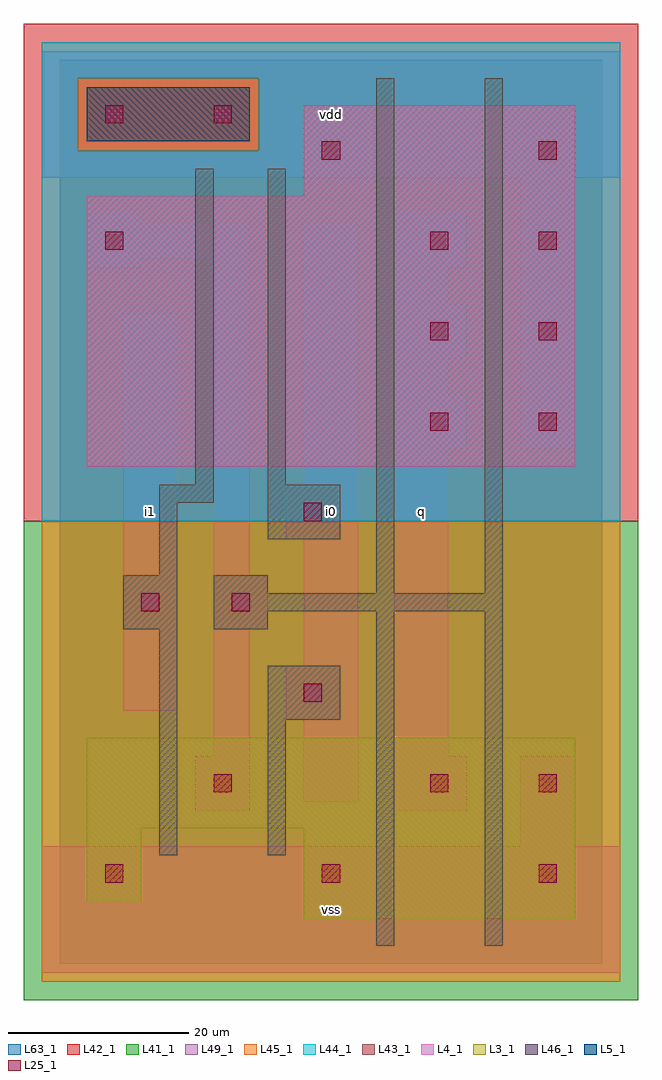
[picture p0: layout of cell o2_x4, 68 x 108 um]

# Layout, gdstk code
import gdstk
lib = gdstk.Library(unit=1e-6, precision=1e-09)
def R(c, l, rs):  # rectangles x0, y0, x1, y1
    for r in rs: c.add(gdstk.rectangle(r[:2], r[2:], *l))
def A(c, l, x, y, w, h, nx, ny, dx, dy):  # array of equal rectangles
    R(c, l, [(x+i*dx, y+j*dy, x+i*dx+w, y+j*dy+h) for i in range(nx) for j in range(ny)])
L3_1 = (3, 1)
L4_1 = (4, 1)
L5_1 = (5, 1)
L25_1 = (25, 1)
L41_1 = (41, 1)
L42_1 = (42, 1)
L43_1 = (43, 1)
L44_1 = (44, 1)
L45_1 = (45, 1)
L46_1 = (46, 1)
L49_1 = (49, 1)
L63_1 = (63, 1)

o2_x4 = lib.new_cell('o2_x4')
R(o2_x4, L3_1, [(27,5,57,15), (3,7,9,15), (3,15,57,25)])
R(o2_x4, L4_1, [(3,55,57,85), (27,85,57,95)])
R(o2_x4, L5_1, [(3,91,21,97)])
A(o2_x4, L25_1, 5, 9, 2, 2, 3, 1, 24, 0)
A(o2_x4, L25_1, 41, 59, 2, 2, 1, 3, 0, 10)
A(o2_x4, L25_1, 53, 59, 2, 2, 1, 4, 0, 10)
R(o2_x4, L25_1, [(17,19,19,21), (41,19,43,21), (53,19,55,21), (27,29,29,31), (9,39,11,41), (19,39,21,41), (27,49,29,51), (5,79,7,81), (29,89,31,91), (5,93,7,95), (17,93,19,95)])
R(o2_x4, L41_1, [(-4,-4,64,49)])
R(o2_x4, L42_1, [(-4,49,64,104)])
R(o2_x4, L43_1, [(27,5,57,15), (3,7,9,15), (3,15,57,25), (3,55,57,85), (27,85,57,95), (3,91,21,97)])
R(o2_x4, L44_1, [(-2,49,62,90), (-2,90,2,98), (22,90,62,98), (-2,98,62,102)])
R(o2_x4, L45_1, [(-2,-2,62,49), (2,90,22,98)])
R(o2_x4, L46_1, [(35,2,37,39), (47,2,49,39), (11,12,13,37), (23,12,25,27), (23,27,31,33), (7,37,13,43), (17,37,23,39), (17,39,49,41), (17,41,23,43), (35,41,37,98), (47,41,49,98), (11,43,13,51), (23,47,31,53), (11,51,17,53), (15,53,17,88), (23,53,25,88)])
A(o2_x4, L49_1, 37, 57, 8, 6, 1, 3, 0, 10)
R(o2_x4, L49_1, [(-2,-1,62,13), (51,13,57,23), (15,17,21,23), (37,17,45,23), (27,18,33,27), (17,23,21,37), (37,23,43,57), (25,27,33,33), (7,28,13,72), (27,33,33,47), (17,37,23,43), (17,43,21,78), (25,47,33,53), (27,53,33,82), (51,57,57,87), (37,63,43,67), (37,73,43,77), (3,77,9,78), (3,78,21,82), (3,82,9,83), (-2,87,62,101)])
R(o2_x4, L63_1, [(0,0,60,100)])
o2_x4.add(gdstk.Label('i1', (10,50), layer=49, texttype=1))
o2_x4.add(gdstk.Label('i1', (10,50), layer=49, texttype=1))
o2_x4.add(gdstk.Label('vss', (30,6), layer=49, texttype=1))
o2_x4.add(gdstk.Label('vss', (30,6), layer=49, texttype=1))
o2_x4.add(gdstk.Label('q', (40,50), layer=49, texttype=1))
o2_x4.add(gdstk.Label('q', (40,50), layer=49, texttype=1))
o2_x4.add(gdstk.Label('i0', (30,50), layer=49, texttype=1))
o2_x4.add(gdstk.Label('i0', (30,50), layer=49, texttype=1))
o2_x4.add(gdstk.Label('vdd', (30,94), layer=49, texttype=1))
o2_x4.add(gdstk.Label('vdd', (30,94), layer=49, texttype=1))

lib.write_gds('o2_x4.gds')
